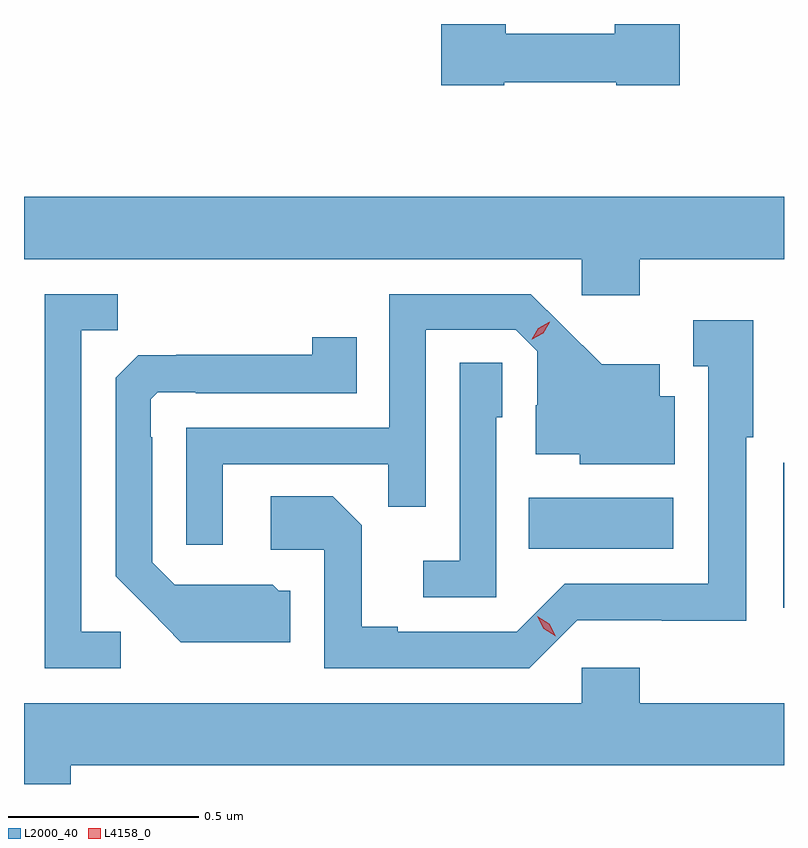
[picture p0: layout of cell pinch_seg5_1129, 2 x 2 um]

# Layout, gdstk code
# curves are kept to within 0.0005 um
import gdstk
lib = gdstk.Library(unit=1e-6, precision=1e-09)
def R(c, l, rs):  # rectangles x0, y0, x1, y1
    for r in rs: c.add(gdstk.rectangle(r[:2], r[2:], *l))
def P(c, l, *ps):  # polygons
    for p in ps: c.add(gdstk.Polygon(p, *l))
L2000_40 = (2000, 40)
L4158_0 = (4158, 0)

pinch_seg5_1129 = lib.new_cell('pinch_seg5_1129')
R(pinch_seg5_1129, L2000_40, [(775.844,873.159,775.846,873.54), (775.174,873.314,775.555,873.448)])
P(pinch_seg5_1129, L2000_40, [(775.11,874.542),(775.404,874.542),(775.404,874.534),(775.571,874.534),(775.571,874.695),(775.4,874.695),(775.4,874.67),(775.114,874.67),(775.114,874.695),(774.944,874.695),(774.944,874.534),(775.11,874.534)],
  [(775.466,874.076),(775.846,874.076),(775.846,874.24),(773.846,874.24),(773.846,874.076),(775.314,874.076),(775.314,873.981),(775.466,873.981)],
  [(774.369,873.537),(774.805,873.537),(774.805,873.424),(774.903,873.424),(774.903,873.891),(775.14,873.891),(775.197,873.834),(775.197,873.692),(775.193,873.692),(775.193,873.563),(775.308,873.563),(775.308,873.536),(775.558,873.536),(775.558,873.715),(775.519,873.715),(775.519,873.799),(775.367,873.799),(775.18,873.984),(774.807,873.984),(774.807,873.633),(774.273,873.633),(774.273,873.324),(774.369,873.324)],
  [(774.1,873.096),(773.997,873.096),(773.997,873.889),(774.093,873.889),(774.093,873.984),(773.901,873.984),(773.901,873),(774.1,873)],
  [(775.302,873.126),(775.524,873.126),(775.524,873.125),(775.747,873.125),(775.747,873.607),(775.765,873.607),(775.765,873.916),(775.607,873.916),(775.607,873.795),(775.646,873.795),(775.646,873.222),(775.269,873.222),(775.143,873.096),(774.829,873.096),(774.829,873.109),(774.735,873.109),(774.735,873.376),(774.659,873.452),(774.495,873.452),(774.495,873.312),(774.636,873.312),(774.636,873),(775.176,873)],
  [(774.547,873.204),(774.516,873.204),(774.5,873.22),(774.366,873.22),(774.366,873.219),(774.243,873.219),(774.183,873.279),(774.183,873.608),(774.18,873.608),(774.18,873.708),(774.198,873.726),(774.298,873.726),(774.298,873.723),(774.722,873.723),(774.722,873.871),(774.604,873.871),(774.604,873.824),(774.247,873.824),(774.247,873.823),(774.146,873.823),(774.087,873.764),(774.087,873.242),(774.259,873.068),(774.547,873.068)],
  [(775.089,873.66),(775.104,873.66),(775.104,873.803),(774.993,873.803),(774.993,873.283),(774.897,873.283),(774.897,873.186),(775.089,873.186)],
  [(773.969,872.744),(775.846,872.744),(775.846,872.908),(775.466,872.908),(775.466,873.001),(775.314,873.001),(775.314,872.908),(773.846,872.908),(773.846,872.695),(773.969,872.695)])
P(pinch_seg5_1129, L4158_0, [(775.182,873.865),(775.182,873.866),(775.199,873.895),(775.23,873.911),(775.23,873.911),(775.23,873.91),(775.213,873.881),(775.183,873.865)],
  [(775.245,873.084),(775.214,873.103),(775.196,873.136),(775.196,873.136),(775.197,873.136),(775.228,873.117),(775.245,873.084),(775.245,873.084)])

lib.write_gds('pinch_seg5_1129.gds')
